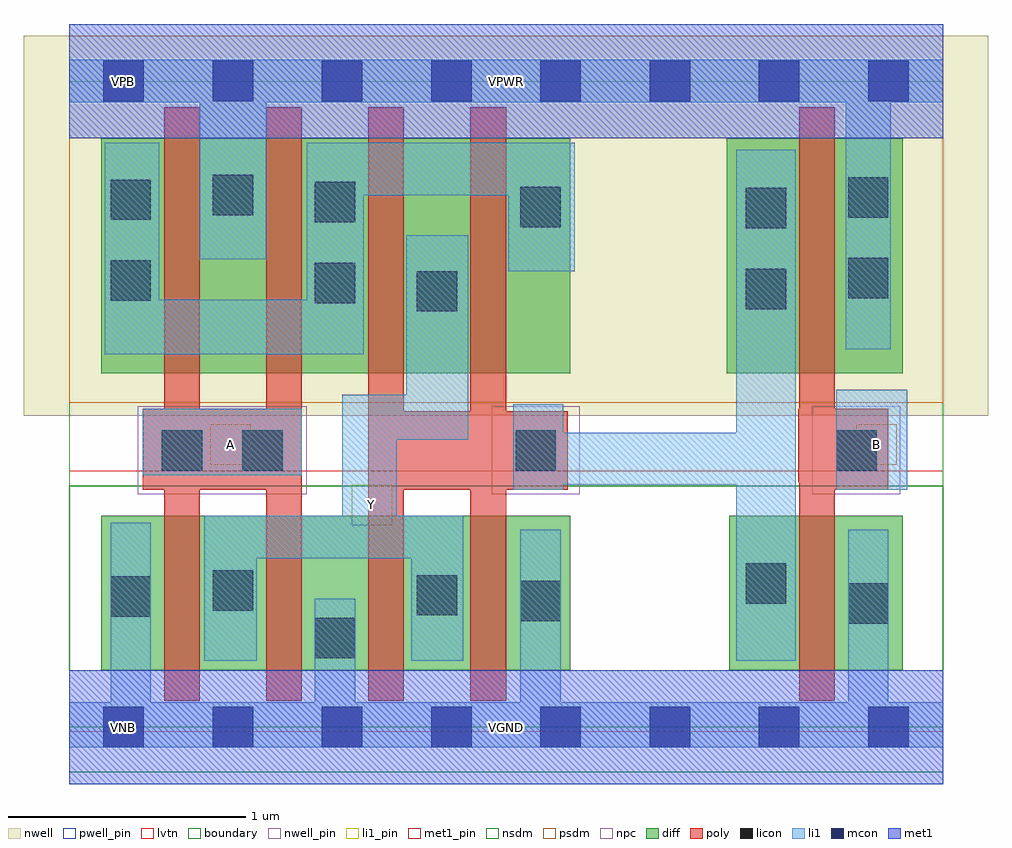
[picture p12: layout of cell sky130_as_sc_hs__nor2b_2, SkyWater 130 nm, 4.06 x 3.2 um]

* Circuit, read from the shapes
.subckt sky130_as_sc_hs__nor2b_2 A B VGND VNB VPB VPWR Y
XM1 Y A VGND VNB sky130_fd_pr__nfet_01v8_lvt w=0.65 l=0.15 m=2
XM2 Y n1 VGND VNB sky130_fd_pr__nfet_01v8_lvt w=0.65 l=0.15 m=2
XM3 VGND B n1 VNB sky130_fd_pr__nfet_01v8_lvt w=0.65 l=0.15
XM4 VPWR A n2 VPB sky130_fd_pr__pfet_01v8 w=0.99 l=0.15 m=2
XM5 Y n1 n2 VPB sky130_fd_pr__pfet_01v8 w=0.99 l=0.15 m=2
XM6 VPWR B n1 VPB sky130_fd_pr__pfet_01v8 w=0.99 l=0.15
.ends

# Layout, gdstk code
import gdstk
lib = gdstk.Library(unit=1e-6, precision=1e-09)
def R(c, l, rs):  # rectangles x0, y0, x1, y1
    for r in rs: c.add(gdstk.rectangle(r[:2], r[2:], *l))
def A(c, l, x, y, w, h, nx, ny, dx, dy):  # array of equal rectangles
    R(c, l, [(x+i*dx, y+j*dy, x+i*dx+w, y+j*dy+h) for i in range(nx) for j in range(ny)])
nwell_pin = (64, 16)
nwell = (64, 20)
diff = (65, 20)
poly = (66, 20)
licon = (66, 44)
li1_pin = (67, 16)
li1 = (67, 20)
mcon = (67, 44)
met1_pin = (68, 16)
met1 = (68, 20)
nsdm = (93, 44)
psdm = (94, 20)
npc = (95, 20)
pwell_pin = (122, 16)
lvtn = (125, 44)
boundary = (235, 4)

sky130_as_sc_hs__nor2b_2 = lib.new_cell('sky130_as_sc_hs__nor2b_2')
R(sky130_as_sc_hs__nor2b_2, nwell_pin, [(0.145,2.635,0.315,2.805)])
R(sky130_as_sc_hs__nor2b_2, nwell, [(-0.19,1.31,3.87,2.91)])
R(sky130_as_sc_hs__nor2b_2, diff, [(0.135,0.24,2.11,0.89), (2.78,0.24,3.51,0.89), (0.135,1.49,2.11,2.48), (2.77,1.49,3.51,2.48)])
A(sky130_as_sc_hs__nor2b_2, poly, 0.4, 0.11, 0.15, 0.89, 4, 1, 0.43, 0)
R(sky130_as_sc_hs__nor2b_2, poly, [(3.075,0.11,3.225,1), (0.31,1,0.98,1.34), (1.26,1,2.1,1.33), (3.075,1,3.45,1.03), (3.07,1.03,3.45,1.34), (1.26,1.33,1.41,2.61), (1.69,1.33,1.84,2.61), (0.4,1.34,0.55,2.61), (0.83,1.34,0.98,2.61), (3.075,1.34,3.225,2.61)])
R(sky130_as_sc_hs__nor2b_2, licon, [(1.035,0.29,1.205,0.46), (3.28,0.435,3.45,0.605), (1.9,0.445,2.07,0.615), (0.175,0.465,0.345,0.635), (1.465,0.47,1.635,0.64), (0.605,0.49,0.775,0.66), (2.85,0.52,3.02,0.69), (0.39,1.08,0.56,1.25), (0.73,1.08,0.9,1.25), (1.88,1.08,2.05,1.25), (3.23,1.08,3.4,1.25), (1.465,1.75,1.635,1.92), (2.85,1.76,3.02,1.93), (1.035,1.785,1.205,1.955), (0.175,1.795,0.345,1.965), (3.28,1.805,3.45,1.975), (2.85,2.1,3.02,2.27), (1.9,2.105,2.07,2.275), (1.035,2.125,1.205,2.295), (0.175,2.135,0.345,2.305), (3.28,2.145,3.45,2.315), (0.605,2.155,0.775,2.325)])
R(sky130_as_sc_hs__nor2b_2, li1_pin, [(1.19,0.85,1.36,1.02), (0.595,1.105,0.765,1.275), (3.315,1.105,3.485,1.275)])
R(sky130_as_sc_hs__nor2b_2, li1, [(0,-0.085,3.68,0.105), (0.175,0.105,0.345,0.86), (1.035,0.105,1.205,0.54), (1.9,0.105,2.07,0.83), (3.28,0.105,3.45,0.83), (0.57,0.28,0.79,0.71), (1.44,0.28,1.66,0.71), (2.81,0.28,3.06,1.02), (0.57,0.71,1.66,0.89), (1.15,0.89,1.38,1.21), (1.87,1,2.08,1.02), (3.23,1,3.53,1.42), (1.87,1.02,3.06,1.24), (0.31,1.06,0.98,1.34), (1.15,1.21,1.68,1.4), (1.87,1.24,2.08,1.36), (2.81,1.24,3.06,2.43), (1.42,1.4,1.68,2.07), (0.15,1.57,1.24,1.8), (3.27,1.59,3.46,2.63), (0.15,1.8,0.38,2.46), (1,1.8,1.24,2.24), (1.85,1.92,2.13,2.24), (0.55,1.97,0.83,2.63), (1,2.24,2.13,2.46), (0,2.63,3.68,2.81)])
A(sky130_as_sc_hs__nor2b_2, mcon, 0.145, -0.085, 0.17, 0.17, 8, 2, 0.46, 2.72)
R(sky130_as_sc_hs__nor2b_2, met1_pin, [(0,-0.24,3.68,0.24), (0.145,-0.085,0.315,0.085), (0,2.48,3.68,2.96), (0.145,2.635,0.315,2.805)])
R(sky130_as_sc_hs__nor2b_2, met1, [(0,-0.24,3.68,0.24), (0,2.48,3.68,2.96)])
R(sky130_as_sc_hs__nor2b_2, nsdm, [(0,-0.19,3.68,1.015)])
R(sky130_as_sc_hs__nor2b_2, psdm, [(0,1.365,3.68,2.91)])
R(sky130_as_sc_hs__nor2b_2, npc, [(0.29,0.98,1,1.35), (1.78,0.98,2.15,1.35), (3.13,0.98,3.5,1.35)])
R(sky130_as_sc_hs__nor2b_2, pwell_pin, [(0.145,-0.085,0.315,0.085)])
R(sky130_as_sc_hs__nor2b_2, lvtn, [(0,-0.02,3.68,1.08)])
R(sky130_as_sc_hs__nor2b_2, boundary, [(0,0,3.68,2.72)])
sky130_as_sc_hs__nor2b_2.add(gdstk.Label('VNB', (0.23,0), layer=64, texttype=59))
sky130_as_sc_hs__nor2b_2.add(gdstk.Label('VNB', (0.23,0), layer=64, texttype=59))
sky130_as_sc_hs__nor2b_2.add(gdstk.Label('VPB', (0.23,2.72), layer=64, texttype=5))
sky130_as_sc_hs__nor2b_2.add(gdstk.Label('VPB', (0.23,2.72), layer=64, texttype=5))
sky130_as_sc_hs__nor2b_2.add(gdstk.Label('A', (0.68,1.19), layer=67, texttype=5))
sky130_as_sc_hs__nor2b_2.add(gdstk.Label('Y', (1.275,0.935), layer=67, texttype=5))
sky130_as_sc_hs__nor2b_2.add(gdstk.Label('B', (3.4,1.19), layer=67, texttype=5))
sky130_as_sc_hs__nor2b_2.add(gdstk.Label('A', (0.68,1.19), layer=67, texttype=5))
sky130_as_sc_hs__nor2b_2.add(gdstk.Label('Y', (1.275,0.935), layer=67, texttype=5))
sky130_as_sc_hs__nor2b_2.add(gdstk.Label('B', (3.4,1.19), layer=67, texttype=5))
sky130_as_sc_hs__nor2b_2.add(gdstk.Label('VPWR', (1.84,2.72), layer=68, texttype=5))
sky130_as_sc_hs__nor2b_2.add(gdstk.Label('VPWR', (0.23,2.72), layer=68, texttype=5))
sky130_as_sc_hs__nor2b_2.add(gdstk.Label('VGND', (1.84,0), layer=68, texttype=5))
sky130_as_sc_hs__nor2b_2.add(gdstk.Label('VGND', (0.23,0), layer=68, texttype=5))

lib.write_gds('sky130_as_sc_hs__nor2b_2.gds')
